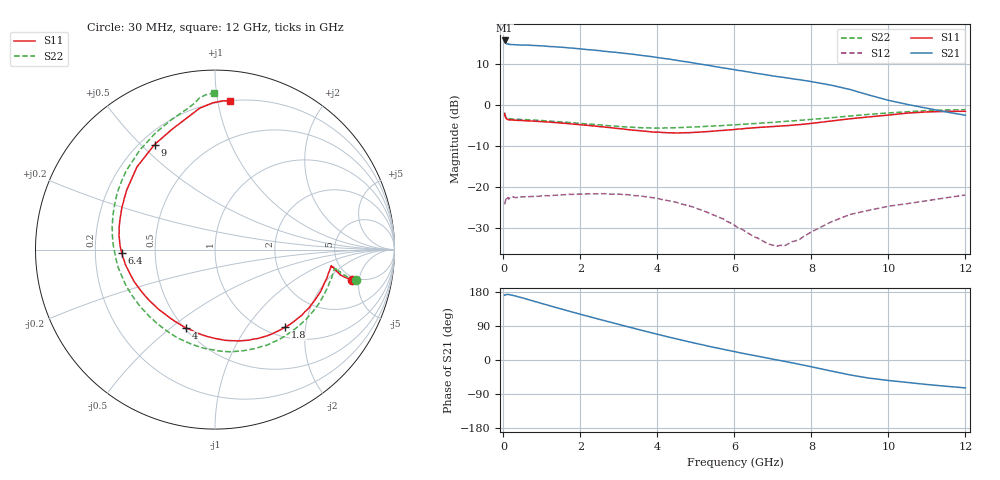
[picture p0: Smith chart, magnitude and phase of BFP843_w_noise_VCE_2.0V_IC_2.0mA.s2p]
! Infineon Technologies  Discrete & RF Semiconductors
! BFP843
! VCE =  2.0 V,  IC =  2.0 mA
! Common Emitter S-Parameters:  Aug 2013
# GHz  S  MA  R  50
!  f  S11  S21  S12  S22
! GHz  MAG  ANG  MAG  ANG  MAG  ANG  MAG  ANG
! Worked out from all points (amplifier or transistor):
!   103 points, 30 MHz to 12 GHz, reference 50 ohm
!   highest |S21| = 15.6 dB at 30 MHz (marker M1)
!   |S21| within 3 dB of that: start of sweep to 3.013 GHz
!   unconditionally stable (mu >= 1): 127.2 MHz to 999 MHz; 2.992 GHz to 11.05 GHz
!   at 400 MHz: K = 1.02, MAG = 17.6 dB, |S12| = -22.5 dB
!   at 3.7 GHz: K = 1.10, MAG = 15.2 dB, |S12| = -22.3 dB
!   at 12 GHz: K = 0.84, MSG = 9.7 dB, |S12| = -21.9 dB
!   lowest NFmin = 1.16 dB at 450 MHz
!   S11 on the Smith chart (normalised r, x): 30 MHz: 4.56, -4.02; 1.8 GHz: 1.18, -1.55; 4 GHz: 0.51, -0.57; 6.4 GHz: 0.32, -0.02; 9 GHz: 0.26, +0.55; 12 GHz: 0.20, +1.08
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0.03  0.7826 -12.6  6.03 170.8  0.0618 37.3  0.8022 -12.2
0.07  0.6833 -9.8  5.529 172.8  0.0716 17.7  0.7075 -10.0
0.13  0.6607 -8.2  5.449 173.1  0.0729 9.7  0.677 -9.0
0.6  0.6377 -16.8  5.312 160.8  0.0762 0.5  0.6584 -21.4
0.9  0.6277 -24.3  5.212 152.0  0.0774 -2.0  0.6467 -31.2
1.3  0.6089 -34.6  5.07 140.3  0.0794 -5.1  0.6282 -44.7
1.8  0.5825 -47.9  4.868 126.2  0.0816 -10.2  0.6061 -61.4
2.1  0.5668 -56.0  4.712 117.9  0.0822 -13.2  0.5881 -71.6
2.5  0.5423 -66.9  4.531 107.1  0.0827 -18.3  0.5699 -84.9
2.9  0.5186 -78.1  4.341 96.5  0.0822 -23.7  0.5508 -98.2
3.4  0.4899 -92.5  4.081 83.4  0.0789 -30.8  0.5312 -115.4
4  0.4655 -110.5  3.74 67.9  0.0729 -39.9  0.5218 -135.0
4.1  0.4616 -113.8  3.688 65.4  0.071 -41.9  0.521 -138.2
5  0.4632 -142.3  3.175 43.8  0.0555 -52.5  0.5379 -162.4
5.4  0.4759 -153.8  2.967 34.8  0.047 -56.0  0.5503 -171.6
6.1  0.5068 -170.7  2.61 20.1  0.032 -55.7  0.5742 173.5
6.4  0.5199 -177.8  2.487 14.0  0.0269 -52.0  0.5871 167.6
7.3  0.5554 162.3  2.14 -3.6  0.0194 -11.8  0.6274 150.6
8.5  0.6333 133.4  1.733 -28.8  0.0376 16.3  0.6944 127.2
9  0.6754 119.9  1.533 -39.3  0.0465 13.5  0.7298 117.0
10.5  0.7924 96.2  1.007 -59.3  0.0631 4.2  0.822 98.1
12  0.8323 84.3  0.746 -73.6  0.0803 -6.2  0.8722 90.4
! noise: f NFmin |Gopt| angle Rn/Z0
0.45  1.16  0.34  9  0.05
0.9  1.19  0.35  19  0.08
1.5  1.25  0.34  31  0.18
1.9  1.3  0.33  40  0.27
2.4  1.38  0.32  50  0.36
3.5  1.55  0.27  71  0.52
5.5  1.89  0.22  159  0.56
10  2.91  0.58  -85  0.63
